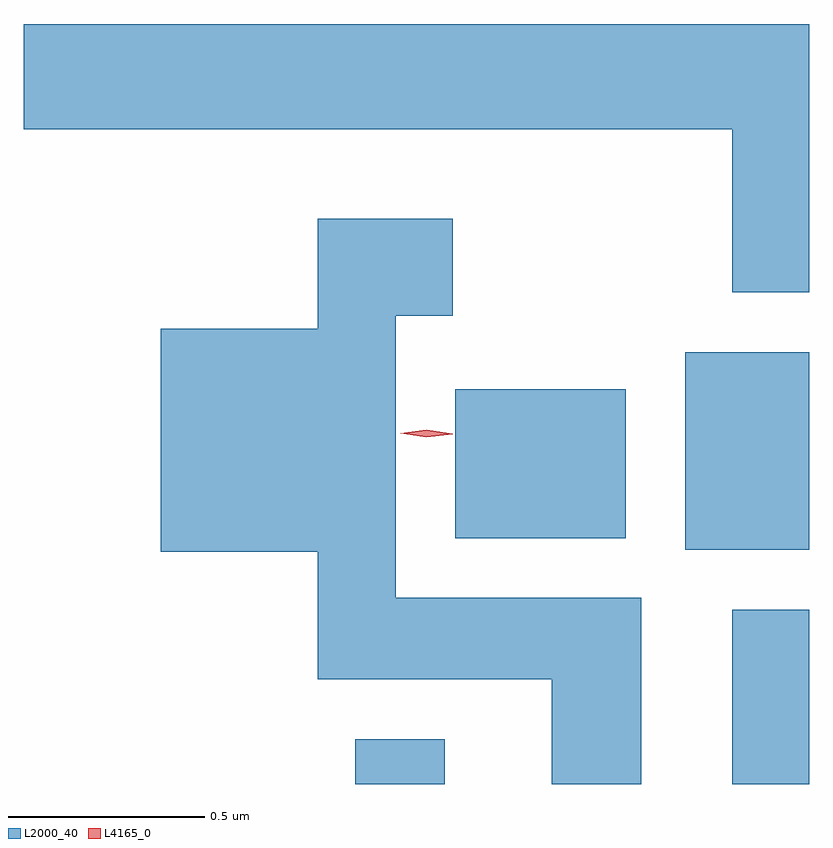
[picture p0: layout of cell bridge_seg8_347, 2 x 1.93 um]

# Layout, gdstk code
import gdstk
lib = gdstk.Library(unit=1e-6, precision=1e-09)
def R(c, l, rs):  # rectangles x0, y0, x1, y1
    for r in rs: c.add(gdstk.rectangle(r[:2], r[2:], *l))
def P(c, l, *ps):  # polygons
    for p in ps: c.add(gdstk.Polygon(p, *l))
L2000_40 = (2000, 40)
L4165_0 = (4165, 0)

bridge_seg8_347 = lib.new_cell('bridge_seg8_347')
R(bridge_seg8_347, L2000_40, [(928.751,1941.31,928.979,1941.424), (929.711,1941.31,929.907,1941.754), (929.591,1941.906,929.907,1942.409), (929.006,1941.936,929.439,1942.314)])
P(bridge_seg8_347, L2000_40, [(929.907,1943.244),(927.907,1943.244),(927.907,1942.976),(929.711,1942.976),(929.711,1942.561),(929.907,1942.561)],
  [(929.479,1941.784),(928.854,1941.784),(928.854,1942.501),(928.999,1942.501),(928.999,1942.749),(928.656,1942.749),(928.656,1942.469),(928.256,1942.469),(928.256,1941.901),(928.656,1941.901),(928.656,1941.576),(929.251,1941.576),(929.251,1941.31),(929.479,1941.31)])
P(bridge_seg8_347, L4165_0, [(928.932,1942.192),(928.866,1942.202),(928.866,1942.203),(928.866,1942.203),(928.933,1942.212),(928.999,1942.201),(928.999,1942.2),(928.999,1942.2)])

lib.write_gds('bridge_seg8_347.gds')
